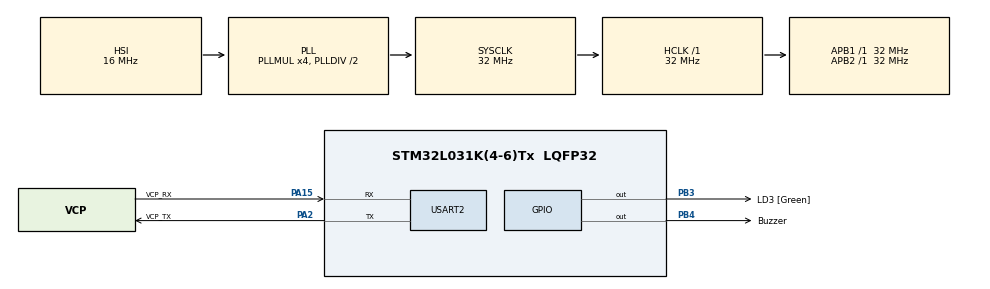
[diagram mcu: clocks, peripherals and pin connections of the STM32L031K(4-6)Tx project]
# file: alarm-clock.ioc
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Mcu.Family=STM32L0
Mcu.Name=STM32L031K(4-6)Tx
Mcu.Package=LQFP32
NVIC.TIM2_IRQn=true\:0\:0\:false\:false\:true\:true\:true\:true
NVIC.USART2_IRQn=true\:0\:0\:false\:false\:true\:true\:true\:true
PA13.GPIO_Label=TMS
PA13.Mode=Serial_Wire
PA13.Signal=SYS_SWDIO
PA14.GPIO_Label=TCK
PA14.Mode=Serial_Wire
PA14.Signal=SYS_SWCLK
PA15.GPIO_Label=VCP_RX
PA15.Mode=Asynchronous
PA15.Signal=USART2_RX
PA2.GPIO_Label=VCP_TX
PA2.Mode=Asynchronous
PA2.Signal=USART2_TX
PB3.GPIO_Label=LD3 [Green]
PB3.Signal=GPIO_Output
PB4.GPIO_Label=Buzzer
PB4.Signal=GPIO_Output
PC14-OSC32_IN.Mode=LSE-External-Oscillator
PC14-OSC32_IN.Signal=RCC_OSC32_IN
PC15-OSC32_OUT.Mode=LSE-External-Oscillator
PC15-OSC32_OUT.Signal=RCC_OSC32_OUT
ProjectManager.HeapSize=0x200
ProjectManager.StackSize=0x400
ProjectManager.TargetToolchain=CMake
RCC.AHBFreq_Value=32000000
RCC.APB1Freq_Value=32000000
RCC.APB1TimFreq_Value=32000000
RCC.APB2Freq_Value=32000000
RCC.APB2TimFreq_Value=32000000
RCC.HCLKFreq_Value=32000000
RCC.HSE_VALUE=8000000
RCC.HSI16_VALUE=16000000
RCC.HSI48_VALUE=48000000
RCC.HSI_VALUE=16000000
RCC.MSI_VALUE=2097000
RCC.PLLMUL=RCC_PLLMUL_4
RCC.SYSCLKFreq_VALUE=32000000
RCC.SYSCLKSource=RCC_SYSCLKSOURCE_PLLCLK
RCC.VCOOutputFreq_Value=64000000
TIM2.Period=999
TIM2.Prescaler=31999
USART2.VirtualMode-Asynchronous=VM_ASYNC
VP_TIM2_VS_ClockSourceINT.Mode=Internal
board=NUCLEO-L031K6

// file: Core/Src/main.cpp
/* USER CODE BEGIN Header */
/**
  ******************************************************************************
  * @file           : main.c
  * @brief          : Main program body
  ******************************************************************************
  * @attention
  *
  * Copyright (c) 2026 STMicroelectronics.
  * All rights reserved.
  *
  * This software is licensed under terms that can be found in the LICENSE file
  * in the root directory of this software component.
  * If no LICENSE file comes with this software, it is provided AS-IS.
  *
  ******************************************************************************
  */
/* USER CODE END Header */
#include "main.h"

/* USER CODE BEGIN Includes */
#include "stm32l031xx.h"
#include "stm32l0xx_hal_gpio.h"
#include "time.h"
#include <cstdint>
#include <cstring>

/* USER CODE END Includes */

TIM_HandleTypeDef htim2;

UART_HandleTypeDef huart2;

/* USER CODE BEGIN PV */
// Initialize time object.
Time time;
char *time_val;

uint8_t LED_PIN = 3;

/* USER CODE END PV */

void SystemClock_Config(void);
static void MX_GPIO_Init(void);
static void MX_TIM2_Init(void);
static void MX_USART2_UART_Init(void);
/* USER CODE BEGIN PFP */
void HAL_TIM_PeriodElapsedCallback(TIM_HandleTypeDef *htim);
void printTime();
void GPIOBToggle(uint8_t pin);
/* USER CODE END PFP */

int main(void)
{

  /* MCU Configuration--------------------------------------------------------*/

  /* Reset of all peripherals, Initializes the Flash interface and the Systick. */
  HAL_Init();

  /* Configure the system clock */
  SystemClock_Config();

  /* Initialize all configured peripherals */
  MX_GPIO_Init();
  MX_TIM2_Init();
  MX_USART2_UART_Init();
  /* USER CODE BEGIN 2 */
  HAL_GPIO_WritePin(LD3_GPIO_Port, LD3_Pin,  GPIO_PIN_RESET);

  // start timer
  HAL_TIM_Base_Start_IT(&htim2);

  /* USER CODE END 2 */

  /* Infinite loop */
  while (1)
  {

  }
}

void SystemClock_Config(void)
{
  RCC_OscInitTypeDef RCC_OscInitStruct = {0};
  RCC_ClkInitTypeDef RCC_ClkInitStruct = {0};
  RCC_PeriphCLKInitTypeDef PeriphClkInit = {0};

  /** Configure the main internal regulator output voltage
  */
  __HAL_PWR_VOLTAGESCALING_CONFIG(PWR_REGULATOR_VOLTAGE_SCALE1);

  /** Initializes the RCC Oscillators according to the specified parameters
  * in the RCC_OscInitTypeDef structure.
  */
  RCC_OscInitStruct.OscillatorType = RCC_OSCILLATORTYPE_HSI;
  RCC_OscInitStruct.HSIState = RCC_HSI_ON;
  RCC_OscInitStruct.HSICalibrationValue = RCC_HSICALIBRATION_DEFAULT;
  RCC_OscInitStruct.PLL.PLLState = RCC_PLL_ON;
  RCC_OscInitStruct.PLL.PLLSource = RCC_PLLSOURCE_HSI;
  RCC_OscInitStruct.PLL.PLLMUL = RCC_PLLMUL_4;
  RCC_OscInitStruct.PLL.PLLDIV = RCC_PLLDIV_2;
  if (HAL_RCC_OscConfig(&RCC_OscInitStruct) != HAL_OK)
  {
    Error_Handler();
  }

  /** Initializes the CPU, AHB and APB buses clocks
  */
  RCC_ClkInitStruct.ClockType = RCC_CLOCKTYPE_HCLK|RCC_CLOCKTYPE_SYSCLK
                              |RCC_CLOCKTYPE_PCLK1|RCC_CLOCKTYPE_PCLK2;
  RCC_ClkInitStruct.SYSCLKSource = RCC_SYSCLKSOURCE_PLLCLK;
  RCC_ClkInitStruct.AHBCLKDivider = RCC_SYSCLK_DIV1;
  RCC_ClkInitStruct.APB1CLKDivider = RCC_HCLK_DIV1;
  RCC_ClkInitStruct.APB2CLKDivider = RCC_HCLK_DIV1;

  if (HAL_RCC_ClockConfig(&RCC_ClkInitStruct, FLASH_LATENCY_1) != HAL_OK)
  {
    Error_Handler();
  }
  PeriphClkInit.PeriphClockSelection = RCC_PERIPHCLK_USART2;
  PeriphClkInit.Usart2ClockSelection = RCC_USART2CLKSOURCE_PCLK1;
  if (HAL_RCCEx_PeriphCLKConfig(&PeriphClkInit) != HAL_OK)
  {
    Error_Handler();
  }
}

static void MX_TIM2_Init(void)
{

  TIM_ClockConfigTypeDef sClockSourceConfig = {0};
  TIM_MasterConfigTypeDef sMasterConfig = {0};

  htim2.Instance = TIM2;
  htim2.Init.Prescaler = 31999;
  htim2.Init.CounterMode = TIM_COUNTERMODE_UP;
  htim2.Init.Period = 999;
  htim2.Init.ClockDivision = TIM_CLOCKDIVISION_DIV1;
  htim2.Init.AutoReloadPreload = TIM_AUTORELOAD_PRELOAD_DISABLE;
  if (HAL_TIM_Base_Init(&htim2) != HAL_OK)
  {
    Error_Handler();
  }
  sClockSourceConfig.ClockSource = TIM_CLOCKSOURCE_INTERNAL;
  if (HAL_TIM_ConfigClockSource(&htim2, &sClockSourceConfig) != HAL_OK)
  {
    Error_Handler();
  }
  sMasterConfig.MasterOutputTrigger = TIM_TRGO_RESET;
  sMasterConfig.MasterSlaveMode = TIM_MASTERSLAVEMODE_DISABLE;
  if (HAL_TIMEx_MasterConfigSynchronization(&htim2, &sMasterConfig) != HAL_OK)
  {
    Error_Handler();
  }

}

static void MX_USART2_UART_Init(void)
{

  huart2.Instance = USART2;
  huart2.Init.BaudRate = 115200;
  huart2.Init.WordLength = UART_WORDLENGTH_8B;
  huart2.Init.StopBits = UART_STOPBITS_1;
  huart2.Init.Parity = UART_PARITY_NONE;
  huart2.Init.Mode = UART_MODE_TX_RX;
  huart2.Init.HwFlowCtl = UART_HWCONTROL_NONE;
  huart2.Init.OverSampling = UART_OVERSAMPLING_16;
  huart2.Init.OneBitSampling = UART_ONE_BIT_SAMPLE_DISABLE;
  huart2.AdvancedInit.AdvFeatureInit = UART_ADVFEATURE_NO_INIT;
  if (HAL_UART_Init(&huart2) != HAL_OK)
  {
    Error_Handler();
  }

}

static void MX_GPIO_Init(void)
{
  GPIO_InitTypeDef GPIO_InitStruct = {0};

  /* GPIO Ports Clock Enable */
  __HAL_RCC_GPIOC_CLK_ENABLE();
  __HAL_RCC_GPIOA_CLK_ENABLE();
  __HAL_RCC_GPIOB_CLK_ENABLE();

  /*Configure GPIO pin Output Level */
  HAL_GPIO_WritePin(GPIOB, LD3_Pin|Buzzer_Pin, GPIO_PIN_RESET);

  /*Configure GPIO pins : LD3_Pin Buzzer_Pin */
  GPIO_InitStruct.Pin = LD3_Pin|Buzzer_Pin;
  GPIO_InitStruct.Mode = GPIO_MODE_OUTPUT_PP;
  GPIO_InitStruct.Pull = GPIO_NOPULL;
  GPIO_InitStruct.Speed = GPIO_SPEED_FREQ_LOW;
  HAL_GPIO_Init(GPIOB, &GPIO_InitStruct);

}

/* USER CODE BEGIN 4 */
/*
-------------- Timer in Interrupt mode ----------------
The TIM2_IRQHandler() ISR fires when the timer overflows, and the HAL_TIM_IRQHandler()
is then called. The HAL will automatically handle for us all the necessary operations to properly
manage the update event, and it will call the HAL_TIM_PeriodElapsedCallback() callback to signal
us that the timer has been overflowed.

HAL_TIM_PeriodElapsedCallback is declared as __weak which means it can be overwritten here.
*/
void HAL_TIM_PeriodElapsedCallback(TIM_HandleTypeDef *htim){
  time++;
	// HAL_GPIO_TogglePin(GPIOB, LD3_Pin);
  // printTime();
  GPIOBToggle(3);
}

/*
Direct toggle of the GPIO pin without using the HAL. Quicker than the HAL
because no need to check certain conditions before toggling
*/
void GPIOBToggle(uint8_t pin)
{
    GPIOB->ODR ^= (1U << pin);
}

void printTime(){
  char *time_val = time.getTime();
  HAL_UART_Transmit_IT(&huart2, (uint8_t*)time_val, strlen(time_val));
}

/* USER CODE END 4 */

void Error_Handler(void)
{
  __disable_irq();
  while (1)
  {
  }
}
